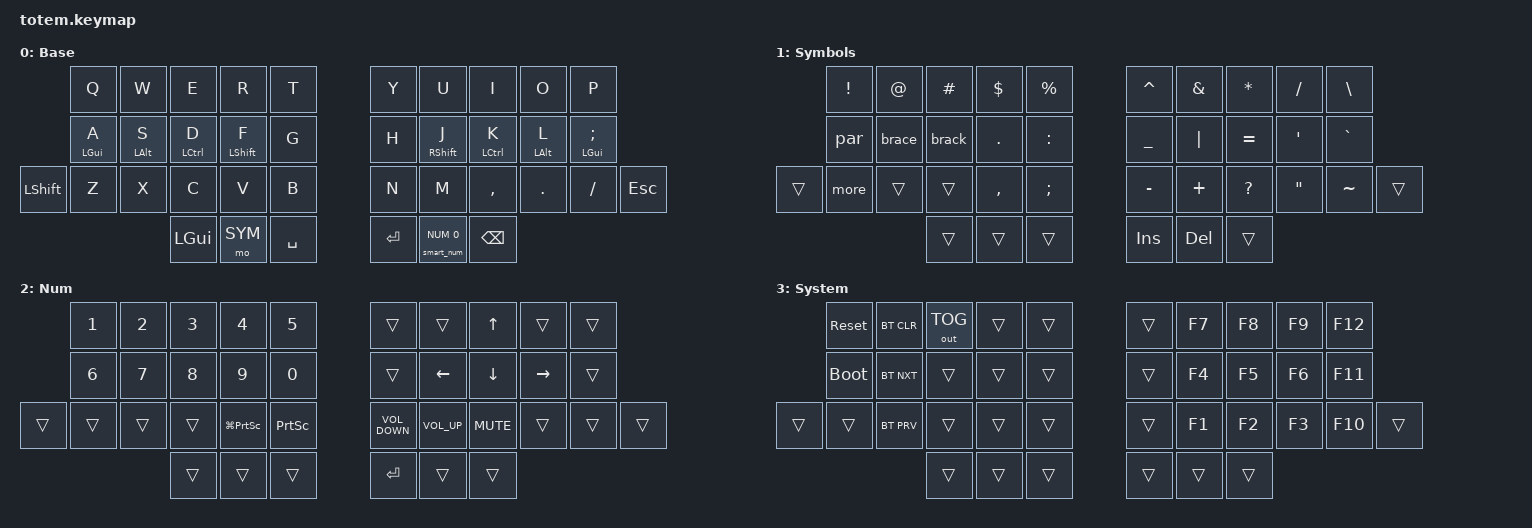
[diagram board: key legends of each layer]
#include <input/processors.dtsi>
#include <zephyr/dt-bindings/input/input-event-codes.h>

#include <behaviors.dtsi>
#include <behaviors/num_word.dtsi> 
#include <dt-bindings/zmk/keys.h>
#include <dt-bindings/zmk/bt.h>
#include <dt-bindings/zmk/outputs.h>


#include "zmk-helpers/helper.h"
#include "zmk-helpers/key-labels/totem.h"
#include "zmk-helpers/unicode-chars/french.dtsi"
#include "zmk-helpers/unicode-chars/currency.dtsi"

#define KEYS_L LT0 LT1 LT2 LT3 LT4 LM0 LM1 LM2 LM3 LM4 LB0 LB1 LB2 LB3 LB4 LB5 // left hand
#define KEYS_R RT0 RT1 RT2 RT3 RT4 RM0 RM1 RM2 RM3 RM4 RB0 RB1 RB2 RB3 RB4 RB5 // right hand
#define THUMBS LH2 LH1 LH0 RH0 RH1 RH2

#define BASE 0
#define SYM 1
#define NUM 2
#define SYSTEM  3 

#define QUICK_TAP_MS 175
#define SLOW_TAP 300

ZMK_TAP_DANCE(copy_cut, bindings = <&kp LC(INS)>, <&kp LC(X)>;
              tapping-term-ms = <QUICK_TAP_MS>;)

ZMK_COMBO(copy_cut, &copy_cut,   LB2 LB3, ALL)  // copy on tap, cut on double-tap, active on all layers
ZMK_COMBO(paste,    &kp LC(V), LB1 LB2, ALL)
ZMK_COMBO(undo ,    &kp LC(Z), LB4 LB3, ALL)
ZMK_COMBO(redo ,    &kp LC(LS(Z)), LB4 LB1, ALL)

ZMK_HOLD_TAP(hml,
    flavor = "balanced";
    tapping-term-ms = <200>;
    require-prior-idle-ms = <QUICK_TAP_MS>;
    hold-trigger-key-positions = <KEYS_R THUMBS>;
    hold-trigger-on-release;
    bindings = <&kp>, <&kp>;
)

ZMK_HOLD_TAP(hmr,
    flavor = "balanced";
    tapping-term-ms = <200>;
    require-prior-idle-ms = <QUICK_TAP_MS>;
    hold-trigger-key-positions = <KEYS_L THUMBS>;
    hold-trigger-on-release;
    bindings = <&kp>, <&kp>;
)

#define SMART_NUM &smart_num NUM 0
ZMK_HOLD_TAP(smart_num, bindings = <&mo>, <&num_dance>; flavor = "balanced";
             tapping-term-ms = <200>; quick-tap-ms = <QUICK_TAP_MS>;)
ZMK_TAP_DANCE(num_dance, bindings = <&num_word NUM>, <&sl NUM>;
              tapping-term-ms = <200>;)


/ {
    conditional_layers {
        compatible = "zmk,conditional-layers";

        adjust_layer {
            if-layers = <SYM NUM>;
            then-layer = <SYSTEM>;
        };
    };
    behaviors {
        par: par {
            compatible = "zmk,behavior-tap-dance";
            display-name = "Parenthesis left and right";
            #binding-cells = <0>;
            tapping-term-ms = <SLOW_TAP>;
            bindings = <&kp LEFT_PARENTHESIS>, <&kp RIGHT_PARENTHESIS>;
        };
        brack: brack {
            compatible = "zmk,behavior-tap-dance";
            display-name = "Brackets left and right";
            #binding-cells = <0>;
            tapping-term-ms = <SLOW_TAP>;
            bindings = <&kp LEFT_BRACKET>, <&kp RIGHT_BRACKET>;
        };
        brace: brace {
            compatible = "zmk,behavior-tap-dance";
            display-name = "Braces left and right";
            #binding-cells = <0>;
            tapping-term-ms = <SLOW_TAP>;
            bindings = <&kp LEFT_BRACE>, <&kp RIGHT_BRACE>;
        };
        more: more {
            compatible = "zmk,behavior-tap-dance";
            display-name = "greater and less than";
            #binding-cells = <0>;
            tapping-term-ms = <SLOW_TAP>;
            bindings = <&kp LESS_THAN>, <&kp GREATER_THAN>;
        };
    };


    combos {
        compatible = "zmk,combos";

        backspace {
            bindings = <&kp BACKSPACE>;
            key-positions = <RM1 RM2>;
        };

        delete {
            bindings = <&kp DELETE>;
            key-positions = <RM1 RM0>;
        };

        goequal {
            bindings = <&goequal>;
            key-positions = <LM1 LM2>;
        };

        saveandquit {
            bindings = <&savequit>;
            key-positions = <LT3 LT4>;
        };
        save {
            bindings = <&save>;
            key-positions = <LT3 LT2>;
        };
        tab {
            bindings = <&tab>;
            key-positions = <LM3 LM2>;
        };
        escape {
            bindings = <&escape>;
            key-positions = <LM3 LM4>;
        };
    };

    macros {
        goequal: goequal {
            compatible = "zmk,behavior-macro";
            #binding-cells = <0>;
            bindings = <&kp COLON &kp EQUAL>;
            label = "GOEQUAL";
        };

        escape: escape {
            compatible = "zmk,behavior-macro";
            #binding-cells = <0>;
            bindings = <&kp ESC>;
            label = "ESCAPE";
        };

        tab: tab {
            compatible = "zmk,behavior-macro";
            #binding-cells = <0>;
            bindings = <&kp TAB>;
            label = "TAB";
        };

        savequit: savequit {
            compatible = "zmk,behavior-macro";
            #binding-cells = <0>;
            bindings = <&kp ESC &kp COLON &kp W &kp Q>;
            label = "SAVEQUIT";
        };
        
        save: save {
            compatible = "zmk,behavior-macro";
            #binding-cells = <0>;
            bindings = <&kp ESC &kp COLON &kp W>;
            label = "SAVE";
        };

    };

    keymap {
        compatible = "zmk,keymap";

        default_layer {
            display-name = "Base";
            bindings = <
           &kp Q           &kp W         &kp E          &kp R         &kp T                     &kp Y        &kp U            &kp I          &kp O          &kp P           
           &hml LGUI A     &hml LALT S   &hml LCTRL D   &hml LSHFT F  &kp G                     &kp H        &hmr RSHFT J     &hmr LCTRL K   &hmr LALT L    &hmr LGUI SEMI  
&kp LSHIFT    &kp Z           &kp X         &kp C          &kp V         &kp B                     &kp N        &kp M            &kp COMMA      &kp DOT        &kp FSLH        &kp ESC
                                         &kp LGUI       &mo SYM       &kp SPACE                 &kp ENTER    SMART_NUM        &kp BSPC
            >;
        };

        sym_layer {
            display-name = "Symbols";
            bindings = < 
        &kp EXCL    &kp AT  &kp POUND   &kp DOLLAR  &kp PERCENT                &kp CARET  &kp AMPERSAND  &kp ASTRK     &kp SLASH          &kp BACKSLASH 
        &par        &brace  &brack      &kp DOT     &kp COLON                  &kp UNDER  &kp PIPE       &kp EQUAL     &kp SINGLE_QUOTE   &kp GRAVE       
&trans  &more       &trans  &trans      &kp COMMA   &kp SEMI                   &kp MINUS  &kp PLUS       &kp QUESTION  &kp DOUBLE_QUOTES  &kp TILDE        &trans
                            &trans      &trans      &trans                     &kp INS    &kp DEL        &trans
            >;
        };

        num_layer {
            display-name = "Num";
            bindings = <
        &kp N1  &kp N2  &kp N3 &kp N4 &kp N5            &trans             &trans            &kp UP        &trans    &trans 
        &kp N6  &kp N7  &kp N8 &kp N9 &kp N0            &trans             &kp LEFT          &kp DOWN      &kp RIGHT &trans  
&trans  &trans  &trans  &trans &kp LG(PSCRN) &kp PSCRN            &kp C_VOLUME_DOWN  &kp C_VOLUME_UP   &kp C_MUTE    &trans    &trans   &trans 
                        &trans &trans &trans            &kp RET            &trans            &trans
            >;
        };

        system_layer {
            display-name = "System";
            bindings = <
                &sys_reset  &bt BT_CLR &out OUT_TOG &trans      &trans          &trans      &kp F7      &kp F8      &kp F9      &kp F12
                &bootloader &bt BT_NXT  &trans      &trans      &trans          &trans      &kp F4      &kp F5      &kp F6      &kp F11  
    &trans      &trans      &bt BT_PRV  &trans      &trans      &trans          &trans      &kp F1      &kp F2      &kp F3      &kp F10     &trans         
                                        &trans      &trans      &trans          &trans      &trans      &trans      

            >;
        };

    };
};
